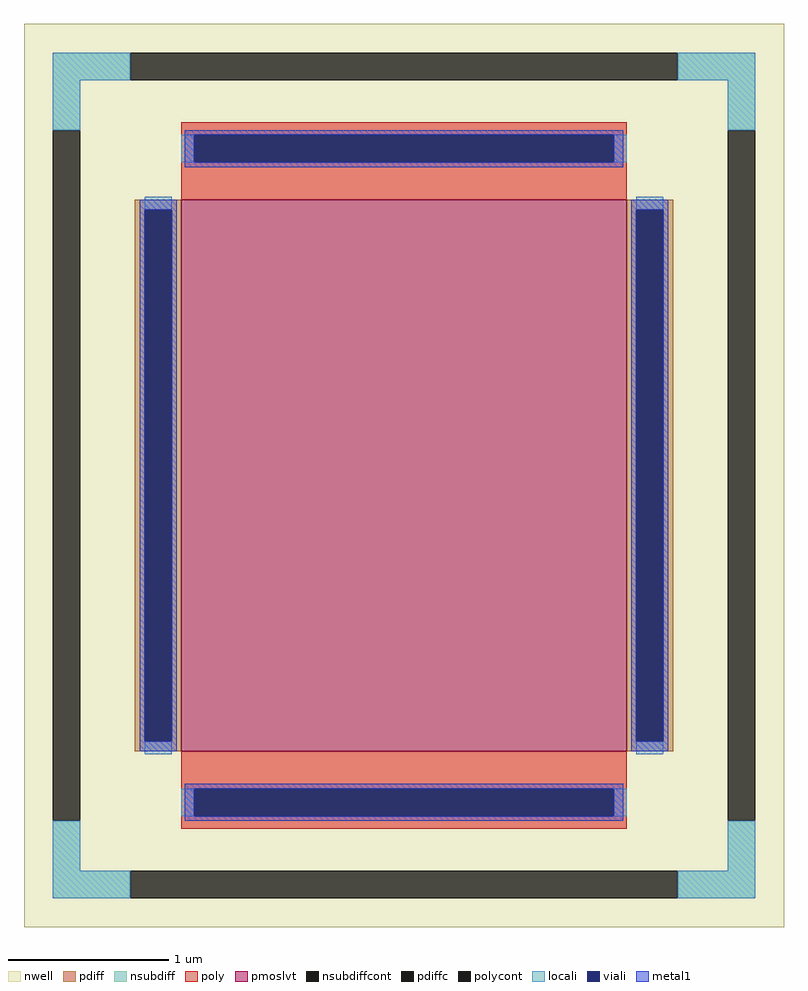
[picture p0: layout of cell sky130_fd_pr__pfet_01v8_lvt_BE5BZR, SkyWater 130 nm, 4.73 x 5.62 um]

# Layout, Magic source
magic
tech sky130A
magscale 1 2
<< nwell >>
rect -473 -562 473 562
<< pmoslvt >>
rect -277 -343 277 343
<< pdiff >>
rect -335 331 -277 343
rect -335 -331 -323 331
rect -289 -331 -277 331
rect -335 -343 -277 -331
rect 277 331 335 343
rect 277 -331 289 331
rect 323 -331 335 331
rect 277 -343 335 -331
<< pdiffc >>
rect -323 -331 -289 331
rect 289 -331 323 331
<< nsubdiff >>
rect -437 492 -341 526
rect 341 492 437 526
rect -437 430 -403 492
rect 403 430 437 492
rect -437 -492 -403 -430
rect 403 -492 437 -430
rect -437 -526 -341 -492
rect 341 -526 437 -492
<< nsubdiffcont >>
rect -341 492 341 526
rect -437 -430 -403 430
rect 403 -430 437 430
rect -341 -526 341 -492
<< poly >>
rect -277 424 277 440
rect -277 390 -261 424
rect 261 390 277 424
rect -277 343 277 390
rect -277 -390 277 -343
rect -277 -424 -261 -390
rect 261 -424 277 -390
rect -277 -440 277 -424
<< polycont >>
rect -261 390 261 424
rect -261 -424 261 -390
<< locali >>
rect -437 492 -341 526
rect 341 492 437 526
rect -437 430 -403 492
rect 403 430 437 492
rect -277 390 -261 424
rect 261 390 277 424
rect -323 331 -289 347
rect -323 -347 -289 -331
rect 289 331 323 347
rect 289 -347 323 -331
rect -277 -424 -261 -390
rect 261 -424 277 -390
rect -437 -492 -403 -430
rect 403 -492 437 -430
rect -437 -526 -341 -492
rect 341 -526 437 -492
<< viali >>
rect -261 390 261 424
rect -323 -331 -289 331
rect 289 -331 323 331
rect -261 -424 261 -390
<< metal1 >>
rect -273 424 273 430
rect -273 390 -261 424
rect 261 390 273 424
rect -273 384 273 390
rect -329 331 -283 343
rect -329 -331 -323 331
rect -289 -331 -283 331
rect -329 -343 -283 -331
rect 283 331 329 343
rect 283 -331 289 331
rect 323 -331 329 331
rect 283 -343 329 -331
rect -273 -390 273 -384
rect -273 -424 -261 -390
rect 261 -424 273 -390
rect -273 -430 273 -424
<< properties >>
string FIXED_BBOX -420 -509 420 509
string gencell sky130_fd_pr__pfet_01v8_lvt
string library sky130
string parameters w 3.43 l 2.77 m 1 nf 1 diffcov 100 polycov 100 guard 1 glc 1 grc 1 gtc 1 gbc 1 tbcov 100 rlcov 100 topc 1 botc 1 poverlap 0 doverlap 1 lmin 0.35 wmin 0.42 compatible {sky130_fd_pr__pfet_01v8  sky130_fd_pr__pfet_01v8_lvt sky130_fd_pr__pfet_01v8_hvt  sky130_fd_pr__pfet_g5v0d10v5} full_metal 1 viasrc 100 viadrn 100 viagate 100 viagb 0 viagr 0 viagl 0 viagt 0
<< end >>
